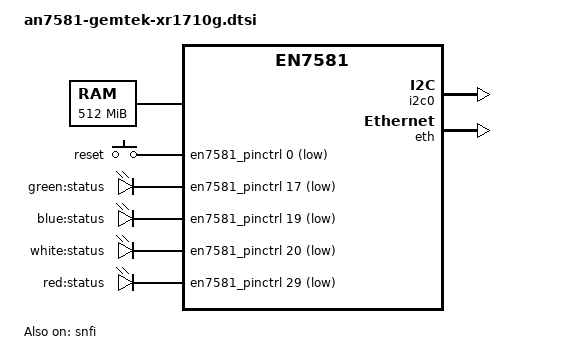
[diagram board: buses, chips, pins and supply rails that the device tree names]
// SPDX-License-Identifier: (GPL-2.0-only OR BSD-2-Clause)
/*
 * Brightspeed / Gemtek XR1710G, whichever way it is started (the .dts files
 * say which, and lay out the flash to match).
 *
 * Only the two gigabit ports (LAN3 / LAN4, on the internal switch) come up
 * here.  The two 10G ports hang off RTL8261 PHYs behind the PCS, which this
 * U-Boot does not drive; recovery is done over a gigabit port.
 */

/* The vendor bootloader's ATF lives here; so does ours (BL31 at 0x80002000). */
/memreserve/ 0x80000000 0x200000;

#include <dt-bindings/gpio/gpio.h>
#include <dt-bindings/input/input.h>
#include "en7581.dtsi"

/ {
	compatible = "gemtek,xr1710g-ubi", "airoha,an7581", "airoha,en7581";

	aliases {
		serial0 = &uart1;
	};

	chosen {
		stdout-path = "serial0:115200n8";
	};

	options {
		u-boot {
			compatible = "u-boot,config";
			/*
			 * The front has one status LED in four colours, so the
			 * chase runs through the colours.
			 */
			httpd-chase-leds = <&led_status_red &led_status_green
					    &led_status_blue &led_status_white>;
		};
	};

	/* 512 MiB fallback; dram_init() probes the real size (2 GiB). */
	memory@80000000 {
		device_type = "memory";
		reg = <0x0 0x80000000 0x0 0x20000000>;
	};

	keys {
		compatible = "gpio-keys";

		key-reset {
			label = "reset";
			linux,code = <KEY_RESTART>;
			gpios = <&en7581_pinctrl 0 GPIO_ACTIVE_LOW>;
		};
	};

	leds {
		compatible = "gpio-leds";

		led_status_green: led-status-green {
			label = "green:status";
			gpios = <&en7581_pinctrl 17 GPIO_ACTIVE_LOW>;
		};

		led_status_blue: led-status-blue {
			label = "blue:status";
			gpios = <&en7581_pinctrl 19 GPIO_ACTIVE_LOW>;
		};

		led_status_white: led-status-white {
			label = "white:status";
			gpios = <&en7581_pinctrl 20 GPIO_ACTIVE_LOW>;
		};

		led_status_red: led-status-red {
			label = "red:status";
			gpios = <&en7581_pinctrl 29 GPIO_ACTIVE_LOW>;
		};
	};
};

&en7581_pinctrl {
	gpio-ranges = <&en7581_pinctrl 0 13 47>;
};

&snfi {
	status = "okay";
};

&snfi {
	status = "okay";
};

&i2c0 {
	status = "okay";
};

&eth {
	status = "okay";
};
